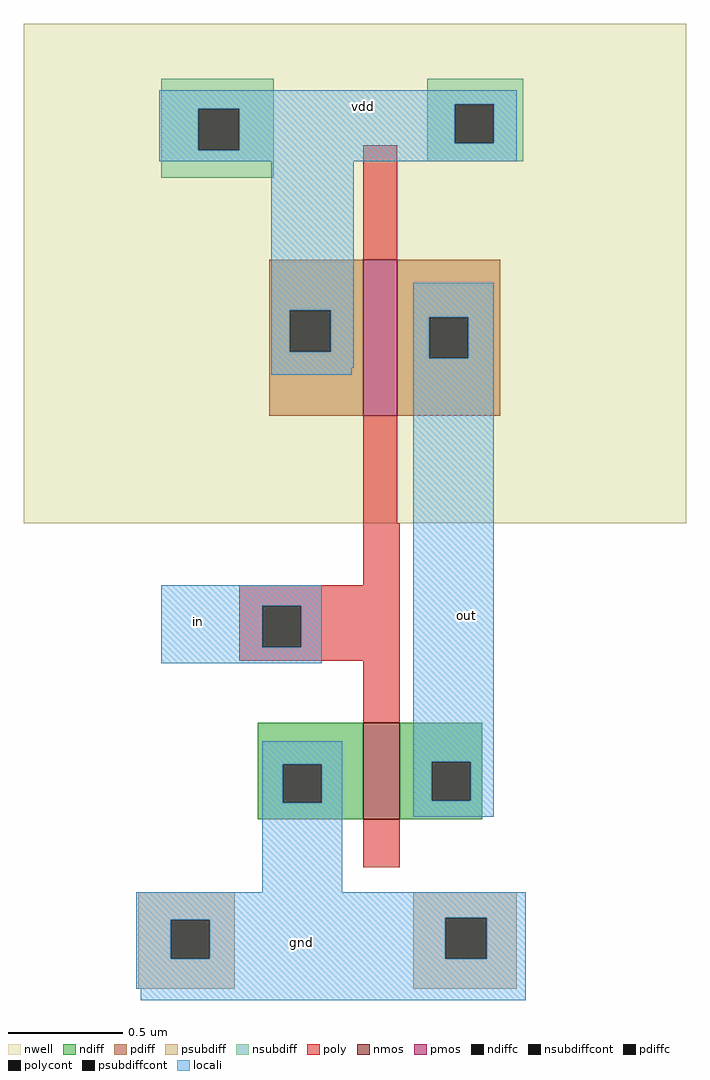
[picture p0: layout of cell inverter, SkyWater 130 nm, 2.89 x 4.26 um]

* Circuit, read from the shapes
.subckt inverter gnd in out vdd
XM1 out in gnd gnd sky130_fd_pr__nfet_01v8 w=0.42 l=0.16
XM2 out in vdd vdd sky130_fd_pr__pfet_01v8 w=0.68 l=0.15
.ends

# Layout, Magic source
magic
tech sky130A
<< nwell >>
rect -239 16 50 234
<< nmos >>
rect -91 -113 -75 -71
<< pmos >>
rect -91 63 -76 131
<< ndiff >>
rect -137 -89 -91 -71
rect -137 -106 -126 -89
rect -109 -106 -91 -89
rect -137 -113 -91 -106
rect -75 -88 -39 -71
rect -75 -105 -61 -88
rect -44 -105 -39 -88
rect -75 -113 -39 -105
<< pdiff >>
rect -132 109 -91 131
rect -132 91 -123 109
rect -105 91 -91 109
rect -132 63 -91 91
rect -76 106 -31 131
rect -76 88 -62 106
rect -45 88 -31 106
rect -76 63 -31 88
<< ndiffc >>
rect -126 -106 -109 -89
rect -61 -105 -44 -88
<< pdiffc >>
rect -123 91 -105 109
rect -62 88 -45 106
<< psubdiff >>
rect -189 -157 -147 -145
rect -189 -174 -175 -157
rect -158 -174 -147 -157
rect -189 -187 -147 -174
rect -69 -156 -24 -145
rect -69 -174 -55 -156
rect -37 -174 -24 -156
rect -69 -187 -24 -174
<< nsubdiff >>
rect -179 197 -130 210
rect -179 179 -163 197
rect -145 179 -130 197
rect -63 199 -21 210
rect -63 182 -51 199
rect -34 182 -21 199
rect -179 167 -130 179
rect -63 174 -21 182
<< psubdiffcont >>
rect -175 -174 -158 -157
rect -55 -174 -37 -156
<< nsubdiffcont >>
rect -163 179 -145 197
rect -51 182 -34 199
<< poly >>
rect -91 131 -76 181
rect -91 16 -76 63
rect -91 -11 -75 16
rect -145 -20 -75 -11
rect -145 -38 -135 -20
rect -118 -38 -75 -20
rect -145 -44 -75 -38
rect -91 -71 -75 -44
rect -91 -134 -75 -113
<< polycont >>
rect -135 -38 -118 -20
<< locali >>
rect -180 199 -24 205
rect -180 197 -51 199
rect -180 179 -163 197
rect -145 182 -51 197
rect -34 182 -24 199
rect -145 179 -24 182
rect -180 174 -24 179
rect -131 109 -95 174
rect -131 91 -123 109
rect -105 91 -95 109
rect -131 84 -95 91
rect -69 106 -34 121
rect -69 88 -62 106
rect -45 88 -34 106
rect -131 81 -96 84
rect -179 -20 -109 -11
rect -179 -38 -135 -20
rect -118 -38 -109 -20
rect -179 -45 -109 -38
rect -135 -89 -100 -79
rect -135 -106 -126 -89
rect -109 -106 -100 -89
rect -135 -145 -100 -106
rect -69 -88 -34 88
rect -69 -105 -61 -88
rect -44 -105 -34 -88
rect -69 -112 -34 -105
rect -190 -156 -20 -145
rect -190 -157 -55 -156
rect -190 -174 -175 -157
rect -158 -174 -55 -157
rect -37 -174 -20 -156
rect -190 -187 -20 -174
rect -188 -192 -20 -187
<< labels >>
rlabel locali -163 -27 -163 -27 1 in
rlabel locali -46 -24 -46 -24 1 out
rlabel locali -91 198 -91 198 1 vdd
rlabel locali -118 -167 -118 -167 1 gnd
<< end >>
